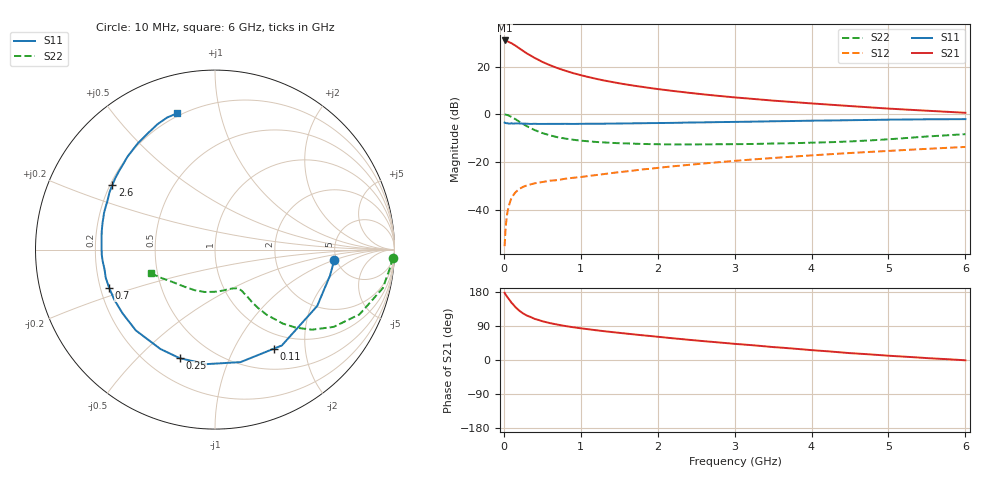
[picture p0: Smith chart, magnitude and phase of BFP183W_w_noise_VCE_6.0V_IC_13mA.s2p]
! Infineon Technologies  Discrete & RF Semiconductors
! BFP183W
! VCE =  6.0 V,  IC =  13 mA
! Common Emitter S-Parameters:  Jan 2017
# GHz  S  MA  R  50
!  f  S11  S21  S12  S22
! GHz  MAG  ANG  MAG  ANG  MAG  ANG  MAG  ANG
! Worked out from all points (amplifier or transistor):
!   77 points, 10 MHz to 6 GHz, reference 50 ohm
!   highest |S21| = 31.0 dB at 10 MHz (marker M1)
!   |S21| within 3 dB of that: start of sweep to 187.7 MHz
!   unconditionally stable (mu >= 1): 1.467 GHz to 3.79 GHz
!   at 130 MHz: K = 0.17, MSG = 31.4 dB, |S12| = -33.7 dB
!   at 2.2 GHz: K = 1.07, MAG = 14.2 dB, |S12| = -21.9 dB
!   at 6 GHz: K = 0.85, MSG = 7.2 dB, |S12| = -13.7 dB
!   lowest NFmin = 1.01 dB at 450 MHz
!   S11 on the Smith chart (normalised r, x): 10 MHz: 4.78, -1.02; 110 MHz: 0.78, -1.46; 250 MHz: 0.33, -0.67; 700 MHz: 0.24, -0.17; 2.6 GHz: 0.21, +0.28; 6 GHz: 0.19, +0.75
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0.01  0.667 -5.1  35.36 177.4  0.0017 89.5  0.9902 -2.6
0.02  0.6568 -12.8  34.96 173.6  0.0034 93.4  0.983 -5.3
0.05  0.6503 -28.9  33.84 164.8  0.0094 76.4  0.9597 -12.9
0.1  0.6511 -55.1  30.99 151.0  0.0176 68.0  0.8819 -24.2
0.11  0.6418 -59.4  30.23 148.9  0.0186 65.7  0.8617 -25.8
0.15  0.6428 -77.2  27.6 139.6  0.0229 58.8  0.7886 -33.1
0.2  0.6398 -94.2  24.25 130.3  0.027 52.4  0.7001 -39.6
0.25  0.6363 -108.0  21.36 122.9  0.0299 47.3  0.624 -44.1
0.3  0.6318 -118.8  18.88 117.2  0.032 44.7  0.5588 -47.5
0.4  0.6303 -134.4  15.21 108.5  0.0355 41.6  0.4653 -51.5
0.5  0.6255 -145.4  12.55 102.3  0.0377 40.9  0.403 -53.6
0.6  0.6269 -153.5  10.7 97.3  0.0403 40.6  0.3597 -54.8
0.7  0.6268 -160.1  9.262 93.3  0.0414 41.8  0.3288 -55.3
0.9  0.6252 -170.0  7.296 86.5  0.0463 44.1  0.2914 -56.4
1.1  0.6317 -177.4  6.031 81.1  0.0505 46.7  0.2702 -57.2
1.5  0.6388 171.2  4.458 71.7  0.0609 50.0  0.2462 -61.1
2.1  0.6556 157.3  3.226 59.3  0.0777 52.4  0.2334 -71.2
2.6  0.6753 147.9  2.606 49.7  0.0926 52.8  0.2327 -82.5
3.1  0.6934 139.4  2.189 41.1  0.1081 52.1  0.2361 -94.4
4.1  0.7349 124.6  1.644 24.6  0.1402 48.9  0.255 -119.3
5.1  0.7713 113.6  1.286 10.1  0.1733 44.0  0.3058 -145.0
6  0.7887 105.4  1.072 -0.8  0.2058 38.7  0.3814 -159.8
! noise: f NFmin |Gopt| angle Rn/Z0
0.45  1.01  0.12  144  0.1
0.9  1.04  0.19  155  0.09
1.9  1.52  0.38  -172  0.08
2.4  1.75  0.44  -164  0.1
